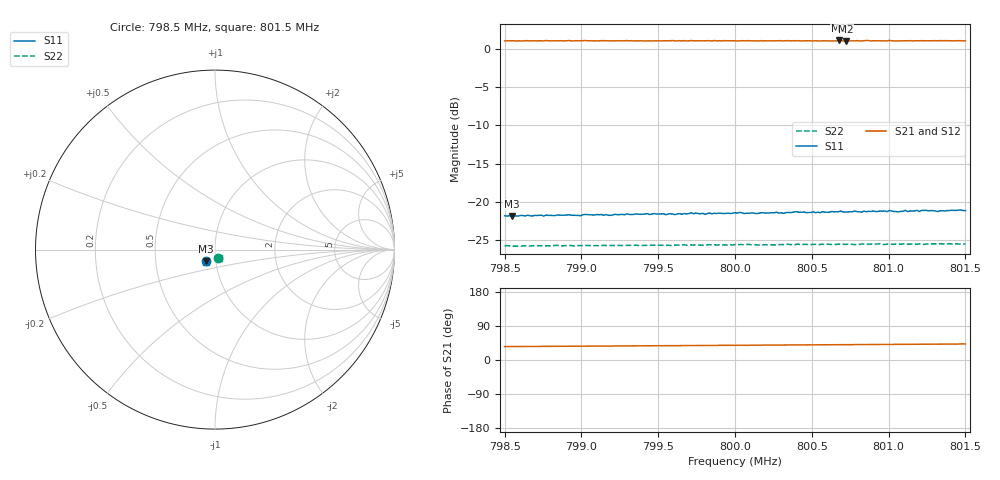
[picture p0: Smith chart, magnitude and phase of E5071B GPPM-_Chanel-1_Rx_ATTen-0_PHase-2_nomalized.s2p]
! This file was normalized.
!Agilent Technologies,E5071B,MY42404614,A.06.51
!Date: Mon Aug 04 16:37:59 2014
!Data & Calibration Information:
!Freq	S11:SOLT2(ON)	S21:SOLT2(ON)	S12:SOLT2(ON)	S22:SOLT2(ON)
# Hz S dB R 50
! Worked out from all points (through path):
!   201 points, 798.5 MHz to 801.5 MHz, reference 50 ohm
!   highest |S21| = 1.12 dB at 800.675 MHz (marker M1); lowest = 1.0 dB at 800.72 MHz (marker M2)
!   lowest |S11| = -21.9 dB at 798.545 MHz (marker M3), VSWR 1.17, Z = 44.9 - j5.72 ohm
!   |S11| at or under -10 dB: start of sweep to end of sweep
!   |S22| runs from -25.8 to -25.5 dB; largest |S21 - S12| = 0.029
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7.985e8  -21.85 -127.8  1.06 35.3  1.07 36.6  -25.80 -69.8
7.98545e8  -21.90 -128.2  1.06 35.5  1.06 36.6  -25.82 -69.9
7.9901e8  -21.70 -127.6  1.08 36.5  1.06 37.7  -25.75 -69.2
7.99505e8  -21.61 -127.5  1.08 37.6  1.07 38.8  -25.69 -68.2
7.99655e8  -21.65 -126.9  1.06 38.1  1.04 39.2  -25.65 -68.0
7.99715e8  -21.44 -127.2  1.11 38.2  1.05 39.3  -25.65 -67.7
7.99805e8  -21.66 -126.8  1.08 38.2  1.07 39.4  -25.67 -67.6
7.99835e8  -21.48 -127.3  1.09 38.4  1.09 39.6  -25.62 -67.6
8e8  -21.44 -126.5  1.08 38.8  1.06 39.9  -25.61 -67.4
8.00135e8  -21.56 -126.6  1.07 39.1  1.06 40.3  -25.64 -67.0
8.0027e8  -21.37 -126.1  1.07 39.5  1.05 40.6  -25.66 -66.8
8.00315e8  -21.53 -126.4  1.06 39.4  1.07 40.7  -25.61 -66.9
8.0051e8  -21.32 -125.7  1.05 40.0  1.06 41.1  -25.60 -66.3
8.00675e8  -21.31 -126.1  1.12 40.3  1.07 41.6  -25.55 -66.4
8.0072e8  -21.35 -125.9  1.04 40.5  1.06 41.7  -25.60 -66.2
8.01005e8  -21.15 -125.9  1.12 41.2  1.07 42.3  -25.55 -65.6
8.01065e8  -21.33 -125.5  1.07 41.2  1.07 42.5  -25.54 -65.5
8.0111e8  -21.12 -125.2  1.08 41.4  1.05 42.6  -25.60 -65.6
8.01125e8  -21.30 -125.3  1.09 41.3  1.07 42.6  -25.55 -65.5
8.01185e8  -21.13 -125.5  1.09 41.5  1.08 42.7  -25.56 -65.3
8.012e8  -21.28 -125.4  1.07 41.6  1.05 42.7  -25.52 -65.2
8.015e8  -21.17 -124.8  1.07 42.2  1.06 43.5  -25.54 -65.0
